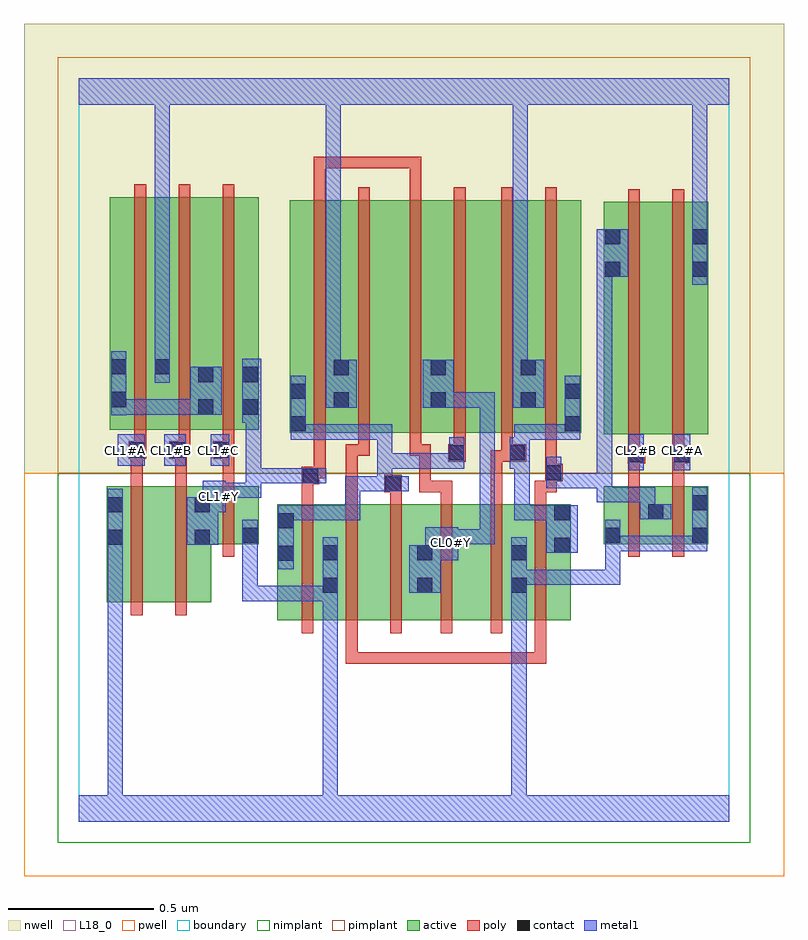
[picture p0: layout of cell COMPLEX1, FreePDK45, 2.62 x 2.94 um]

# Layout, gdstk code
import gdstk
lib = gdstk.Library(unit=1e-6, precision=1e-09)
def R(c, l, rs):  # rectangles x0, y0, x1, y1
    for r in rs: c.add(gdstk.rectangle(r[:2], r[2:], *l))
def A(c, l, x, y, w, h, nx, ny, dx, dy):  # array of equal rectangles
    R(c, l, [(x+i*dx, y+j*dy, x+i*dx+w, y+j*dy+h) for i in range(nx) for j in range(ny)])
active = (1, 0)
pwell = (2, 0)
nwell = (3, 0)
nimplant = (4, 0)
pimplant = (5, 0)
poly = (9, 0)
contact = (10, 0)
metal1 = (11, 0)
L18_0 = (18, 0)
boundary = (235, 0)

complex1 = lib.new_cell('COMPLEX1')
R(complex1, active, [(0.684,0.694,0.744,1.094), (0.684,0.694,0.896,1.094), (0.836,0.694,0.896,1.094), (0.836,0.694,1.016,1.094), (1.016,0.694,1.222,1.094), (1.162,0.694,1.222,0.956), (1.162,0.694,1.342,1.094), (1.342,0.694,1.546,1.094), (1.486,0.694,1.694,1.094), (1.486,0.694,1.546,0.956), (1.634,0.694,1.694,1.094), (0.096,0.756,0.156,1.156), (0.096,0.756,0.276,1.156), (0.276,0.756,0.456,1.156), (0.396,0.756,0.456,1.156), (0.396,0.956,0.62,1.156), (0.56,0.956,0.62,1.156), (1.808,0.956,1.868,1.156), (1.808,0.956,2.016,1.156), (1.956,0.956,2.016,1.156), (1.956,0.956,2.168,1.156), (2.108,0.956,2.168,1.156), (1.808,1.334,1.988,2.134), (1.808,1.334,1.868,2.044), (1.988,1.334,2.168,2.134), (2.108,1.334,2.168,2.134), (0.726,1.34,0.786,2.14), (0.726,1.34,0.934,2.14), (0.874,1.34,0.934,2.044), (0.874,1.34,1.058,2.14), (1.058,1.34,1.268,2.14), (1.208,1.34,1.388,2.14), (1.208,1.34,1.268,2.044), (1.388,1.34,1.578,2.14), (1.518,1.34,1.578,2.044), (1.518,1.34,1.73,2.14), (1.67,1.34,1.73,2.044), (0.108,1.35,0.168,2.15), (0.108,1.35,0.318,2.15), (0.258,1.35,0.468,2.15), (0.408,1.35,0.62,2.15), (0.408,1.35,0.468,2.044), (0.56,1.35,0.62,2.044), (0.258,1.526,0.318,2.044)])
R(complex1, pwell, [(-0.188,-0.188,2.428,1.2)])
R(complex1, nwell, [(-0.188,1.2,2.428,2.748)])
R(complex1, nimplant, [(-0.072,-0.072,2.312,1.2)])
R(complex1, pimplant, [(-0.072,1.2,2.312,2.632)])
A(complex1, poly, 0.768, 0.65, 0.04, 0.488, 3, 1, 0.152, 0)
A(complex1, poly, 0.192, 1.27, 0.04, 0.076, 3, 1, 0.152, 0)
A(complex1, poly, 0.192, 1.306, 0.04, 0.888, 3, 1, 0.152, 0)
R(complex1, poly, [(0.92,0.544,0.96,0.584), (0.92,0.544,0.96,0.584), (0.92,0.544,0.96,0.584), (0.92,0.544,0.96,0.69), (0.92,0.544,1.18,0.584), (1.14,0.544,1.18,0.584), (1.14,0.544,1.18,0.584), (1.14,0.544,1.18,0.584), (1.14,0.544,1.352,0.584), (1.312,0.544,1.352,0.584), (1.312,0.544,1.352,0.584), (1.312,0.544,1.352,0.584), (1.312,0.544,1.476,0.584), (1.436,0.544,1.476,0.584), (1.436,0.544,1.476,0.584), (1.436,0.544,1.61,0.584), (1.57,0.544,1.61,0.584), (1.57,0.544,1.61,0.584), (1.57,0.544,1.61,0.69), (1.246,0.65,1.286,1.138), (1.418,0.65,1.458,1.138), (1.57,0.65,1.61,1.138), (0.18,0.712,0.22,1.2), (0.332,0.712,0.372,1.2), (0.496,0.912,0.536,1.2), (1.892,0.912,1.932,1.2), (2.044,0.912,2.084,1.2), (0.768,1.098,0.808,1.202), (0.92,1.098,0.96,1.3), (1.072,1.098,1.112,1.174), (1.246,1.098,1.286,1.174), (1.418,1.098,1.458,1.28), (1.57,1.098,1.61,1.174), (1.052,1.134,1.112,1.194), (1.172,1.134,1.212,1.174), (1.172,1.134,1.286,1.174), (1.172,1.134,1.212,1.3), (1.246,1.134,1.286,1.174), (1.57,1.134,1.646,1.174), (1.606,1.134,1.646,1.212), (0.18,1.16,0.22,1.29), (0.332,1.16,0.372,1.29), (0.496,1.16,0.536,1.29), (1.892,1.16,1.932,1.274), (2.044,1.16,2.084,1.274), (0.768,1.162,0.828,1.222), (1.606,1.172,1.666,1.232), (0.788,1.182,0.828,1.222), (0.788,1.182,0.85,1.222), (0.81,1.182,0.85,1.336), (1.606,1.192,1.646,1.336), (1.89,1.234,1.95,1.294), (1.892,1.234,1.932,1.274), (1.892,1.234,1.932,1.274), (2.044,1.234,2.104,1.294), (1.272,1.24,1.332,1.3), (1.418,1.24,1.494,1.28), (1.454,1.24,1.494,1.28), (1.454,1.24,1.54,1.3), (0.172,1.25,0.232,1.31), (0.18,1.25,0.22,1.29), (0.18,1.25,0.22,1.29), (0.312,1.25,0.372,1.31), (0.462,1.25,0.536,1.31), (0.496,1.25,0.536,1.29), (0.496,1.25,0.536,1.29), (1.892,1.254,1.932,1.33), (2.044,1.254,2.084,1.33), (2.044,1.254,2.084,1.294), (2.044,1.254,2.084,1.294), (0.92,1.26,0.96,1.3), (0.92,1.26,0.96,1.3), (0.92,1.26,1.002,1.3), (0.962,1.26,1.002,1.336), (1.14,1.26,1.18,1.336), (1.14,1.26,1.18,1.3), (1.14,1.26,1.212,1.3), (1.172,1.26,1.212,1.3), (1.292,1.26,1.332,1.336), (1.454,1.26,1.494,1.336), (0.332,1.27,0.372,1.31), (0.332,1.27,0.384,1.31), (1.892,1.29,1.932,2.178), (2.044,1.29,2.084,2.178), (0.81,1.296,0.85,2.184), (0.962,1.296,1.002,2.184), (1.14,1.296,1.18,2.184), (1.292,1.296,1.332,2.184), (1.454,1.296,1.494,2.184), (1.606,1.296,1.646,2.184), (0.81,2.144,0.85,2.29), (1.14,2.144,1.18,2.29), (0.81,2.25,0.85,2.29), (0.81,2.25,0.85,2.29), (0.81,2.25,0.85,2.29), (0.81,2.25,0.986,2.29), (0.946,2.25,0.986,2.29), (0.946,2.25,0.986,2.29), (0.946,2.25,0.986,2.29), (0.946,2.25,1.18,2.29), (1.14,2.25,1.18,2.29)])
R(complex1, contact, [(0.84,0.788,0.892,0.84), (1.166,0.788,1.218,0.84), (1.49,0.788,1.542,0.84), (0.688,0.898,0.74,0.95), (0.84,0.9,0.892,0.952), (1.166,0.9,1.218,0.952), (1.49,0.9,1.542,0.952), (1.638,0.926,1.69,0.978), (0.1,0.954,0.152,1.006), (0.4,0.954,0.452,1.006), (0.564,0.96,0.616,1.012), (1.812,0.96,1.864,1.012), (2.112,0.96,2.164,1.012), (0.688,1.01,0.74,1.062), (1.638,1.038,1.69,1.09), (1.96,1.042,2.012,1.094), (0.1,1.066,0.152,1.118), (0.4,1.066,0.452,1.118), (2.112,1.072,2.164,1.124), (1.056,1.138,1.108,1.19), (0.772,1.166,0.824,1.218), (1.61,1.176,1.662,1.228), (1.894,1.238,1.946,1.29), (2.048,1.238,2.1,1.29), (1.276,1.244,1.328,1.296), (1.484,1.244,1.536,1.296), (0.176,1.254,0.228,1.306), (0.316,1.254,0.368,1.306), (0.466,1.254,0.518,1.306), (0.73,1.344,0.782,1.396), (1.674,1.344,1.726,1.396), (0.412,1.402,0.464,1.454), (0.564,1.402,0.616,1.454), (0.878,1.426,0.93,1.478), (1.212,1.426,1.264,1.478), (1.522,1.426,1.574,1.478), (0.112,1.428,0.164,1.48), (0.73,1.456,0.782,1.508), (1.674,1.456,1.726,1.508), (0.412,1.514,0.464,1.566), (0.564,1.514,0.616,1.566), (0.878,1.538,0.93,1.59), (1.212,1.538,1.264,1.59), (1.522,1.538,1.574,1.59), (0.112,1.54,0.164,1.592), (0.262,1.54,0.314,1.592), (1.812,1.876,1.864,1.928), (2.112,1.876,2.164,1.928), (1.812,1.988,1.864,2.04), (2.112,1.988,2.164,2.04)])
R(complex1, metal1, [(0,0,2.24,0.092), (0.1,0.04,0.152,0.092), (0.1,0.04,0.152,0.092), (0.1,0.04,0.152,0.228), (0.84,0.04,0.892,0.092), (0.84,0.04,0.892,0.092), (0.84,0.04,0.892,0.812), (1.49,0.04,1.542,0.092), (1.49,0.04,1.542,0.092), (1.49,0.04,1.542,0.092), (1.49,0.04,1.542,0.092), (1.49,0.04,1.542,0.092), (1.49,0.04,1.542,0.092), (1.49,0.04,1.542,0.092), (1.49,0.04,1.542,0.092), (1.49,0.04,1.542,0.812), (0.1,0.176,0.152,0.228), (0.1,0.176,0.152,0.228), (0.1,0.176,0.152,0.228), (0.1,0.176,0.152,0.228), (0.1,0.176,0.152,0.228), (0.1,0.176,0.152,0.978), (0.564,0.76,0.616,0.812), (0.564,0.76,0.616,0.812), (0.564,0.76,0.616,0.812), (0.564,0.76,0.782,0.812), (0.564,0.76,0.616,0.984), (0.73,0.76,0.782,0.812), (0.73,0.76,0.782,0.812), (0.73,0.76,0.782,0.812), (0.73,0.76,0.892,0.812), (0.84,0.76,0.892,0.812), (0.84,0.76,0.892,0.812), (0.84,0.76,0.892,0.812), (0.84,0.76,0.892,0.812), (0.84,0.76,0.892,0.812), (0.84,0.76,0.892,0.812), (0.84,0.76,0.892,0.812), (0.84,0.76,0.892,0.812), (0.84,0.76,0.892,0.812), (0.84,0.76,0.892,0.812), (0.84,0.76,0.892,0.98), (1.49,0.76,1.542,0.812), (1.49,0.76,1.542,0.812), (1.49,0.76,1.542,0.812), (1.49,0.76,1.542,0.812), (1.49,0.76,1.542,0.98), (1.138,0.788,1.246,0.952), (1.49,0.816,1.726,0.868), (1.674,0.816,1.726,0.868), (1.674,0.816,1.726,0.868), (1.674,0.816,1.726,0.868), (1.674,0.816,1.864,0.868), (1.812,0.816,1.864,0.868), (1.812,0.816,1.864,0.868), (1.812,0.816,1.864,0.868), (1.812,0.816,1.864,0.984), (0.688,0.87,0.74,1.09), (1.194,0.9,1.246,0.952), (1.194,0.9,1.306,1.014), (0.1,0.926,0.152,0.978), (0.1,0.926,0.152,0.978), (0.1,0.926,0.152,0.978), (0.1,0.926,0.152,0.978), (0.1,0.926,0.152,1.146), (1.61,0.926,1.718,1.09), (0.564,0.932,0.616,1.04), (1.812,0.932,1.974,0.984), (1.812,0.932,1.864,1.04), (1.922,0.932,1.974,0.984), (1.922,0.932,1.974,0.984), (1.922,0.932,1.974,0.984), (1.922,0.932,2.164,0.984), (2.112,0.932,2.164,0.984), (2.112,0.932,2.164,0.984), (2.112,0.932,2.164,1.152), (0.372,0.954,0.48,1.118), (1.254,0.956,1.306,1.008), (1.254,0.956,1.306,1.008), (1.254,0.956,1.432,1.008), (1.38,0.956,1.432,1.008), (1.38,0.956,1.432,1.478), (0.688,1.038,0.74,1.09), (0.688,1.038,0.74,1.09), (0.688,1.038,0.97,1.09), (0.918,1.038,0.97,1.09), (0.918,1.038,0.97,1.19), (1.5,1.038,1.552,1.09), (1.5,1.038,1.662,1.09), (1.5,1.038,1.552,1.268), (1.61,1.038,1.662,1.09), (1.61,1.038,1.662,1.09), (1.61,1.038,1.662,1.09), (1.61,1.038,1.662,1.09), (1.932,1.042,1.984,1.152), (1.932,1.042,2.04,1.094), (0.428,1.066,0.48,1.118), (0.428,1.066,0.506,1.174), (1.784,1.1,1.836,1.152), (1.784,1.1,1.984,1.152), (1.784,1.1,1.836,1.2), (1.932,1.1,1.984,1.152), (1.932,1.1,1.984,1.152), (1.932,1.1,1.984,1.152), (0.454,1.116,0.506,1.168), (0.454,1.116,0.506,1.168), (0.454,1.116,0.628,1.168), (0.576,1.116,0.628,1.218), (0.918,1.138,0.97,1.19), (0.918,1.138,0.97,1.19), (0.918,1.138,0.97,1.19), (0.918,1.138,1.08,1.19), (1.028,1.138,1.08,1.19), (1.028,1.138,1.08,1.19), (1.028,1.138,1.136,1.19), (1.028,1.138,1.08,1.268), (1.61,1.148,1.662,1.256), (1.61,1.148,1.836,1.2), (1.784,1.148,1.836,1.2), (1.784,1.148,1.836,1.2), (1.784,1.148,1.836,1.2), (1.784,1.148,1.836,1.928), (0.576,1.166,0.628,1.218), (0.576,1.166,0.628,1.218), (0.576,1.166,0.796,1.218), (0.576,1.166,0.628,1.426), (0.744,1.166,0.852,1.218), (1.894,1.21,1.946,1.334), (2.048,1.21,2.106,1.334), (1.028,1.216,1.08,1.268), (1.028,1.216,1.19,1.268), (1.028,1.216,1.08,1.368), (1.138,1.216,1.19,1.268), (1.138,1.216,1.19,1.268), (1.138,1.216,1.19,1.268), (1.138,1.216,1.328,1.268), (1.276,1.216,1.328,1.324), (1.484,1.216,1.536,1.324), (1.484,1.216,1.552,1.268), (1.5,1.216,1.552,1.268), (1.5,1.216,1.552,1.368), (0.134,1.226,0.228,1.334), (0.294,1.226,0.368,1.334), (0.454,1.226,0.518,1.334), (0.73,1.316,0.782,1.368), (0.73,1.316,0.782,1.368), (0.73,1.316,0.782,1.536), (0.73,1.316,0.962,1.368), (0.91,1.316,0.962,1.368), (0.91,1.316,0.962,1.368), (0.91,1.316,0.962,1.368), (0.91,1.316,1.08,1.368), (1.028,1.316,1.08,1.368), (1.5,1.316,1.552,1.368), (1.5,1.316,1.726,1.368), (1.674,1.316,1.726,1.368), (1.674,1.316,1.726,1.368), (1.674,1.316,1.726,1.536), (0.564,1.374,0.628,1.594), (0.576,1.374,0.628,1.426), (0.576,1.374,0.628,1.426), (0.112,1.4,0.164,1.62), (0.112,1.402,0.164,1.454), (0.112,1.402,0.164,1.454), (0.112,1.402,0.314,1.454), (0.262,1.402,0.314,1.454), (0.262,1.402,0.314,1.454), (0.262,1.402,0.314,1.454), (0.262,1.402,0.436,1.454), (0.384,1.402,0.492,1.566), (0.85,1.426,0.958,1.59), (1.184,1.426,1.292,1.59), (1.24,1.426,1.426,1.478), (1.374,1.426,1.426,1.478), (1.374,1.426,1.432,1.478), (1.38,1.426,1.432,1.478), (1.38,1.426,1.432,1.478), (1.38,1.426,1.432,1.478), (1.494,1.426,1.602,1.59), (0.262,1.512,0.314,1.62), (0.85,1.538,0.902,1.59), (0.85,1.538,0.902,1.59), (0.85,1.538,0.902,2.52), (1.494,1.538,1.546,1.59), (1.494,1.538,1.546,1.59), (1.494,1.538,1.546,1.59), (1.494,1.538,1.546,1.59), (1.494,1.538,1.546,2.52), (0.262,1.568,0.314,1.62), (0.262,1.568,0.314,1.62), (0.262,1.568,0.314,1.62), (0.262,1.568,0.314,1.62), (0.262,1.568,0.314,1.62), (0.262,1.568,0.314,1.62), (0.262,1.568,0.314,2.52), (2.112,1.848,2.164,2.068), (1.784,1.876,1.892,2.04), (2.112,2.016,2.164,2.068), (2.112,2.016,2.164,2.068), (2.112,2.016,2.164,2.068), (2.112,2.016,2.164,2.068), (2.112,2.016,2.164,2.52), (0,2.468,2.24,2.56), (0.262,2.468,0.314,2.52), (0.262,2.468,0.314,2.52), (0.85,2.468,0.902,2.52), (0.85,2.468,0.902,2.52), (0.85,2.468,0.902,2.52), (0.85,2.468,0.902,2.52), (0.85,2.468,0.902,2.52), (0.85,2.468,0.902,2.52), (1.494,2.468,1.546,2.52), (1.494,2.468,1.546,2.52), (1.494,2.468,1.546,2.52), (1.494,2.468,1.546,2.52), (2.112,2.468,2.164,2.52), (2.112,2.468,2.164,2.52), (2.112,2.468,2.164,2.52), (2.112,2.468,2.164,2.52)])
A(complex1, L18_0, 0.134, 1.254, 0.052, 0.052, 3, 1, 0.16, 0)
R(complex1, L18_0, [(0,0,2.24,0.092), (0.1,0.04,0.152,0.092), (0.1,0.04,0.152,0.092), (0.1,0.04,0.152,0.228), (0.84,0.04,0.892,0.092), (0.84,0.04,0.892,0.092), (0.84,0.04,0.892,0.812), (1.49,0.04,1.542,0.092), (1.49,0.04,1.542,0.092), (1.49,0.04,1.542,0.092), (1.49,0.04,1.542,0.092), (1.49,0.04,1.542,0.092), (1.49,0.04,1.542,0.092), (1.49,0.04,1.542,0.092), (1.49,0.04,1.542,0.092), (1.49,0.04,1.542,0.812), (0.1,0.176,0.152,0.228), (0.1,0.176,0.152,0.228), (0.1,0.176,0.152,0.228), (0.1,0.176,0.152,0.228), (0.1,0.176,0.152,0.228), (0.1,0.176,0.152,0.978), (0.564,0.76,0.616,0.812), (0.564,0.76,0.616,0.812), (0.564,0.76,0.616,0.812), (0.564,0.76,0.616,0.984), (0.564,0.76,0.782,0.812), (0.73,0.76,0.782,0.812), (0.73,0.76,0.782,0.812), (0.73,0.76,0.782,0.812), (0.73,0.76,0.892,0.812), (0.84,0.76,0.892,0.812), (0.84,0.76,0.892,0.812), (0.84,0.76,0.892,0.812), (0.84,0.76,0.892,0.812), (0.84,0.76,0.892,0.812), (0.84,0.76,0.892,0.812), (0.84,0.76,0.892,0.812), (0.84,0.76,0.892,0.812), (0.84,0.76,0.892,0.812), (0.84,0.76,0.892,0.812), (0.84,0.76,0.892,0.98), (1.49,0.76,1.542,0.812), (1.49,0.76,1.542,0.812), (1.49,0.76,1.542,0.812), (1.49,0.76,1.542,0.812), (1.49,0.76,1.542,0.98), (1.138,0.788,1.246,0.952), (1.49,0.816,1.726,0.868), (1.674,0.816,1.726,0.868), (1.674,0.816,1.726,0.868), (1.674,0.816,1.726,0.868), (1.674,0.816,1.864,0.868), (1.812,0.816,1.864,0.868), (1.812,0.816,1.864,0.868), (1.812,0.816,1.864,0.868), (1.812,0.816,1.864,0.984), (1.194,0.9,1.246,0.952), (1.194,0.9,1.306,1.014), (0.1,0.926,0.152,0.978), (0.1,0.926,0.152,0.978), (0.1,0.926,0.152,0.978), (0.1,0.926,0.152,0.978), (0.1,0.926,0.152,1.146), (0.564,0.932,0.616,1.04), (1.812,0.932,1.864,1.04), (1.812,0.932,1.974,0.984), (1.922,0.932,1.974,0.984), (1.922,0.932,1.974,0.984), (1.922,0.932,1.974,0.984), (1.922,0.932,2.164,0.984), (2.112,0.932,2.164,0.984), (2.112,0.932,2.164,0.984), (2.112,0.932,2.164,1.152), (1.254,0.934,1.306,0.986), (0.372,0.954,0.48,1.118), (1.254,0.956,1.306,1.008), (1.254,0.956,1.306,1.008), (1.254,0.956,1.432,1.008), (1.38,0.956,1.432,1.008), (1.38,0.956,1.432,1.478), (0.428,1.066,0.48,1.118), (0.428,1.066,0.506,1.174), (0.454,1.094,0.506,1.146), (0.454,1.116,0.506,1.168), (0.454,1.116,0.506,1.168), (0.454,1.116,0.628,1.168), (0.576,1.116,0.628,1.218), (0.576,1.166,0.628,1.218), (0.576,1.166,0.628,1.218), (0.576,1.166,0.628,1.426), (0.576,1.166,0.796,1.218), (0.744,1.166,0.852,1.218), (1.894,1.21,1.946,1.334), (2.048,1.21,2.106,1.334), (0.134,1.226,0.228,1.334), (0.294,1.226,0.368,1.334), (0.454,1.226,0.518,1.334), (1.894,1.254,1.946,1.306), (2.054,1.254,2.106,1.306), (0.564,1.374,0.628,1.594), (0.576,1.374,0.628,1.426), (0.576,1.374,0.628,1.426), (0.85,1.426,0.958,1.59), (1.184,1.426,1.292,1.59), (1.24,1.426,1.426,1.478), (1.374,1.426,1.426,1.478), (1.374,1.426,1.432,1.478), (1.38,1.426,1.432,1.478), (1.38,1.426,1.432,1.478), (1.38,1.426,1.432,1.478), (1.494,1.426,1.602,1.59), (0.262,1.512,0.314,1.62), (0.85,1.538,0.902,1.59), (0.85,1.538,0.902,1.59), (0.85,1.538,0.902,2.52), (1.494,1.538,1.546,1.59), (1.494,1.538,1.546,1.59), (1.494,1.538,1.546,1.59), (1.494,1.538,1.546,1.59), (1.494,1.538,1.546,2.52), (0.262,1.568,0.314,1.62), (0.262,1.568,0.314,1.62), (0.262,1.568,0.314,1.62), (0.262,1.568,0.314,1.62), (0.262,1.568,0.314,1.62), (0.262,1.568,0.314,1.62), (0.262,1.568,0.314,2.52), (2.112,1.848,2.164,2.068), (2.112,2.016,2.164,2.068), (2.112,2.016,2.164,2.068), (2.112,2.016,2.164,2.068), (2.112,2.016,2.164,2.068), (2.112,2.016,2.164,2.52), (0,2.468,2.24,2.56), (0.262,2.468,0.314,2.52), (0.262,2.468,0.314,2.52), (0.85,2.468,0.902,2.52), (0.85,2.468,0.902,2.52), (0.85,2.468,0.902,2.52), (0.85,2.468,0.902,2.52), (0.85,2.468,0.902,2.52), (0.85,2.468,0.902,2.52), (1.494,2.468,1.546,2.52), (1.494,2.468,1.546,2.52), (1.494,2.468,1.546,2.52), (1.494,2.468,1.546,2.52), (2.112,2.468,2.164,2.52), (2.112,2.468,2.164,2.52), (2.112,2.468,2.164,2.52), (2.112,2.468,2.164,2.52)])
R(complex1, boundary, [(0,0,2.24,2.56)])
complex1.add(gdstk.Label('CL0#Y', (1.28,0.96), layer=11, texttype=0))
complex1.add(gdstk.Label('CL1#A', (0.16,1.28), layer=11, texttype=0))
complex1.add(gdstk.Label('CL1#B', (0.32,1.28), layer=11, texttype=0))
complex1.add(gdstk.Label('CL1#C', (0.48,1.28), layer=11, texttype=0))
complex1.add(gdstk.Label('CL1#Y', (0.48,1.12), layer=11, texttype=0))
complex1.add(gdstk.Label('CL2#A', (2.08,1.28), layer=11, texttype=0))
complex1.add(gdstk.Label('CL2#B', (1.92,1.28), layer=11, texttype=0))

lib.write_gds('COMPLEX1.gds')
